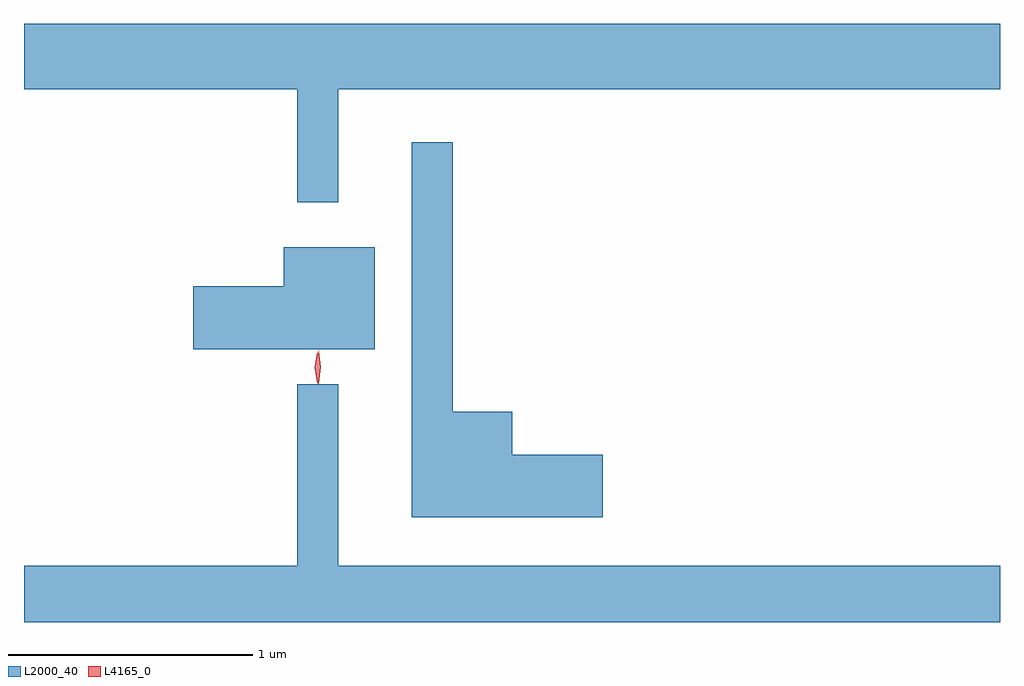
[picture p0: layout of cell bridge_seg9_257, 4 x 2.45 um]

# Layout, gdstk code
import gdstk
lib = gdstk.Library(unit=1e-6, precision=1e-09)
def P(c, l, *ps):  # polygons
    for p in ps: c.add(gdstk.Polygon(p, *l))
L2000_40 = (2000, 40)
L4165_0 = (4165, 0)

bridge_seg9_257 = lib.new_cell('bridge_seg9_257')
P(bridge_seg9_257, L2000_40, [(885.959,2036.216),(888.672,2036.216),(888.672,2036.484),(884.672,2036.484),(884.672,2036.216),(885.791,2036.216),(885.791,2035.753),(885.959,2035.753)],
  [(887.044,2034.719),(886.674,2034.719),(886.674,2034.894),(886.429,2034.894),(886.429,2035.998),(886.261,2035.998),(886.261,2034.461),(887.044,2034.461)],
  [(886.109,2035.569),(885.736,2035.569),(885.736,2035.409),(885.366,2035.409),(885.366,2035.151),(886.109,2035.151)],
  [(888.672,2034.264),(885.959,2034.264),(885.959,2035.008),(885.791,2035.008),(885.791,2034.264),(884.672,2034.264),(884.672,2034.032),(888.672,2034.032)])
P(bridge_seg9_257, L4165_0, [(885.878,2035.01),(885.878,2035.01),(885.869,2035.078),(885.879,2035.145),(885.88,2035.146),(885.88,2035.145),(885.889,2035.078),(885.879,2035.01)],
  [(885.874,2035.013),(885.864,2035.076),(885.873,2035.139),(885.873,2035.14),(885.874,2035.139),(885.884,2035.076),(885.875,2035.013),(885.875,2035.013)])

lib.write_gds('bridge_seg9_257.gds')
